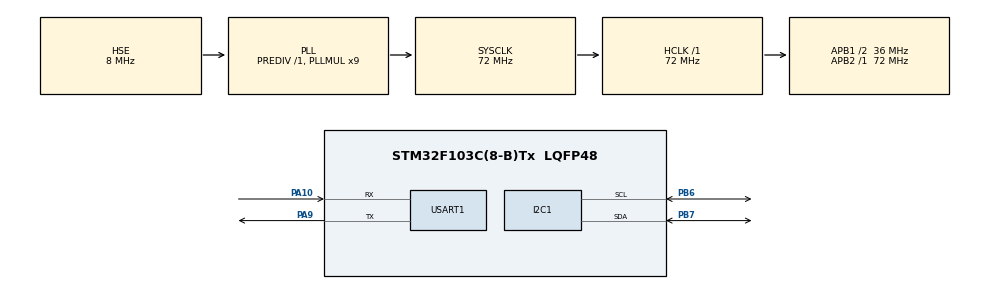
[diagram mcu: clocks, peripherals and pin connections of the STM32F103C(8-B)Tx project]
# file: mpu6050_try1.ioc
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Mcu.Family=STM32F1
Mcu.Name=STM32F103C(8-B)Tx
Mcu.Package=LQFP48
NVIC.PriorityGroup=NVIC_PRIORITYGROUP_4
PA10.Mode=Asynchronous
PA10.Signal=USART1_RX
PA13.Mode=Serial_Wire
PA13.Signal=SYS_JTMS-SWDIO
PA14.Mode=Serial_Wire
PA14.Signal=SYS_JTCK-SWCLK
PA9.Mode=Asynchronous
PA9.Signal=USART1_TX
PB6.Mode=I2C
PB6.Signal=I2C1_SCL
PB7.Mode=I2C
PB7.Signal=I2C1_SDA
PD0-OSC_IN.Mode=HSE-External-Oscillator
PD0-OSC_IN.Signal=RCC_OSC_IN
PD1-OSC_OUT.Mode=HSE-External-Oscillator
PD1-OSC_OUT.Signal=RCC_OSC_OUT
ProjectManager.HeapSize=0x200
ProjectManager.StackSize=0x400
ProjectManager.TargetToolchain=STM32CubeIDE
RCC.AHBFreq_Value=72000000
RCC.APB1CLKDivider=RCC_HCLK_DIV2
RCC.APB1Freq_Value=36000000
RCC.APB1TimFreq_Value=72000000
RCC.APB2Freq_Value=72000000
RCC.APB2TimFreq_Value=72000000
RCC.HCLKFreq_Value=72000000
RCC.PLLMUL=RCC_PLL_MUL9
RCC.PLLSourceVirtual=RCC_PLLSOURCE_HSE
RCC.SYSCLKFreq_VALUE=72000000
RCC.SYSCLKSource=RCC_SYSCLKSOURCE_PLLCLK
RCC.USBFreq_Value=72000000
USART1.VirtualMode=VM_ASYNC
board=custom

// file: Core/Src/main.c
/* USER CODE BEGIN Header */
/**
  ******************************************************************************
  * @file           : main.c
  * @brief          : Main program body
  ******************************************************************************
  * @attention
  *
  * Copyright (c) 2024 STMicroelectronics.
  * All rights reserved.
  *
  * This software is licensed under terms that can be found in the LICENSE file
  * in the root directory of this software component.
  * If no LICENSE file comes with this software, it is provided AS-IS.
  *
  ******************************************************************************
  */
/* USER CODE END Header */
#include "main.h"
#include "i2c.h"
#include "usart.h"
#include "gpio.h"
#include "mpu6050.h"

/* USER CODE BEGIN PTD */
#include <stdio.h>
#ifdef __GNUC__
/* With GCC/RAISONANCE, small printf (option LD Linker->Libraries->Small printf
   set to 'Yes') calls __io_putchar() */
#define PUTCHAR_PROTOTYPE int __io_putchar(int ch)
#else
#define PUTCHAR_PROTOTYPE int fputc(int ch, FILE *f)
#endif /* __GNUC__ */

PUTCHAR_PROTOTYPE
{
    HAL_UART_Transmit(&huart1, (uint8_t *)&ch, 1, 0xFFFF);
    return ch;
}

/* USER CODE END PTD */

void SystemClock_Config(void);

int main(void)
{

  /* MCU Configuration--------------------------------------------------------*/

  /* Reset of all peripherals, Initializes the Flash interface and the Systick. */
  HAL_Init();

  /* Configure the system clock */
  SystemClock_Config();

  /* Initialize all configured peripherals */
  MX_GPIO_Init();
  MX_I2C1_Init();
  MX_USART1_UART_Init();

  /* Infinite loop */
  /* USER CODE BEGIN WHILE */
    MPU6050_Init(Sensor_I2C1_Search());
  while (1)
  {
      HAL_Delay(500);
      MPU6050_Read_Accel();
      MPU6050_Read_Gyro();
      MPU6050_Read_Temp();
      printf("Accel_X:%f\n",MPU6050_Data.Accel_X);
      printf("Accel_Y:%f\n",MPU6050_Data.Accel_Y);
      printf("Accel_Z:%f\n",MPU6050_Data.Accel_Z);
      printf("\n");

      printf("Gyro_X:%f\n",MPU6050_Data.Gyro_X);
      printf("Gyro_Y:%f\n",MPU6050_Data.Gyro_Y);
      printf("Gyro_Z:%f\n",MPU6050_Data.Gyro_Z);
      printf("\n");

      printf("Temp:%f\n",MPU6050_Data.Temp);
      printf("\n");

    /* USER CODE END WHILE */

  }
}

void SystemClock_Config(void)
{
  RCC_OscInitTypeDef RCC_OscInitStruct = {0};
  RCC_ClkInitTypeDef RCC_ClkInitStruct = {0};

  /** Initializes the RCC Oscillators according to the specified parameters
  * in the RCC_OscInitTypeDef structure.
  */
  RCC_OscInitStruct.OscillatorType = RCC_OSCILLATORTYPE_HSE;
  RCC_OscInitStruct.HSEState = RCC_HSE_ON;
  RCC_OscInitStruct.HSEPredivValue = RCC_HSE_PREDIV_DIV1;
  RCC_OscInitStruct.HSIState = RCC_HSI_ON;
  RCC_OscInitStruct.PLL.PLLState = RCC_PLL_ON;
  RCC_OscInitStruct.PLL.PLLSource = RCC_PLLSOURCE_HSE;
  RCC_OscInitStruct.PLL.PLLMUL = RCC_PLL_MUL9;
  if (HAL_RCC_OscConfig(&RCC_OscInitStruct) != HAL_OK)
  {
    Error_Handler();
  }

  /** Initializes the CPU, AHB and APB buses clocks
  */
  RCC_ClkInitStruct.ClockType = RCC_CLOCKTYPE_HCLK|RCC_CLOCKTYPE_SYSCLK
                              |RCC_CLOCKTYPE_PCLK1|RCC_CLOCKTYPE_PCLK2;
  RCC_ClkInitStruct.SYSCLKSource = RCC_SYSCLKSOURCE_PLLCLK;
  RCC_ClkInitStruct.AHBCLKDivider = RCC_SYSCLK_DIV1;
  RCC_ClkInitStruct.APB1CLKDivider = RCC_HCLK_DIV2;
  RCC_ClkInitStruct.APB2CLKDivider = RCC_HCLK_DIV1;

  if (HAL_RCC_ClockConfig(&RCC_ClkInitStruct, FLASH_LATENCY_2) != HAL_OK)
  {
    Error_Handler();
  }
}

void Error_Handler(void)
{
  __disable_irq();
  while (1)
  {
  }
}
